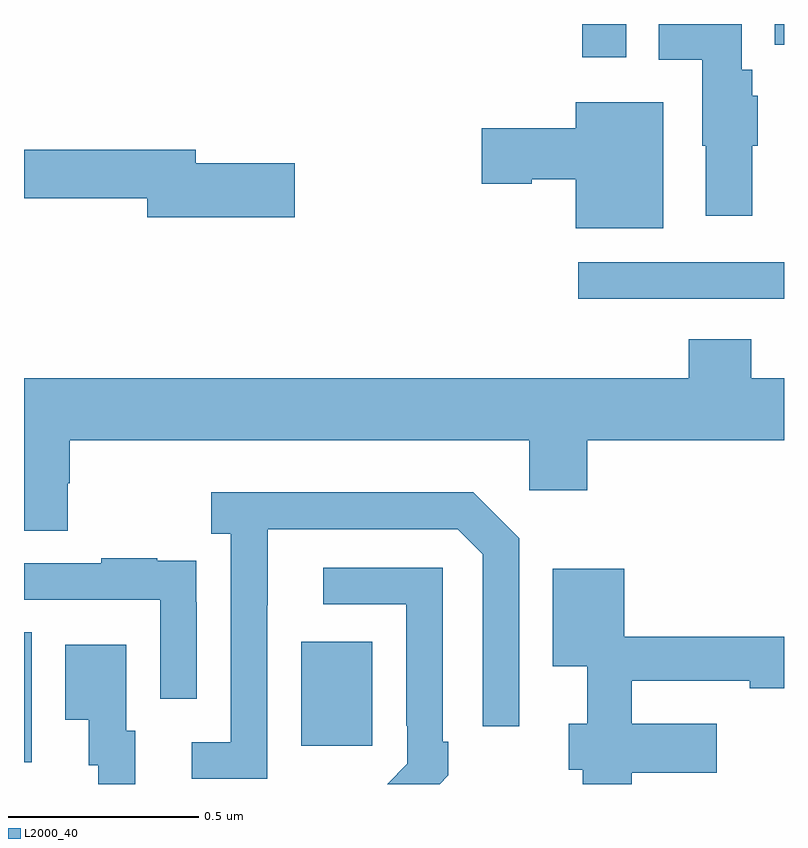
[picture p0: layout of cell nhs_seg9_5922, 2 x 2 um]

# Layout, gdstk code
import gdstk
lib = gdstk.Library(unit=1e-6, precision=1e-09)
def R(c, l, rs):  # rectangles x0, y0, x1, y1
    for r in rs: c.add(gdstk.rectangle(r[:2], r[2:], *l))
def P(c, l, *ps):  # polygons
    for p in ps: c.add(gdstk.Polygon(p, *l))
L2000_40 = (2000, 40)

nhs_seg9_5922 = lib.new_cell('nhs_seg9_5922')
R(nhs_seg9_5922, L2000_40, [(185,1211.557,185.02,1211.9), (185.729,1211.601,185.917,1211.875), (186.459,1212.777,187,1212.873), (186.469,1213.413,186.585,1213.5), (186.975,1213.446,187,1213.5)])
P(nhs_seg9_5922, L2000_40, [(186.916,1213.179),(186.931,1213.179),(186.931,1213.311),(186.916,1213.311),(186.916,1213.38),(186.889,1213.38),(186.889,1213.5),(186.67,1213.5),(186.67,1213.406),(186.785,1213.406),(186.785,1213.179),(186.794,1213.179),(186.794,1212.996),(186.916,1212.996)],
  [(186.682,1213.294),(186.452,1213.294),(186.452,1213.226),(186.204,1213.226),(186.204,1213.079),(186.336,1213.079),(186.336,1213.091),(186.452,1213.091),(186.452,1212.962),(186.682,1212.962)],
  [(185.713,1213.133),(185.452,1213.133),(185.452,1213.169),(185,1213.169),(185,1213.041),(185.324,1213.041),(185.324,1212.991),(185.713,1212.991)],
  [(185.115,1212.291),(185.12,1212.291),(185.12,1212.404),(186.33,1212.404),(186.33,1212.273),(186.482,1212.273),(186.482,1212.404),(187,1212.404),(187,1212.568),(186.914,1212.568),(186.914,1212.67),(186.749,1212.67),(186.749,1212.568),(185,1212.568),(185,1212.166),(185.115,1212.166)],
  [(185.64,1211.971),(185.641,1211.971),(185.641,1212.171),(186.141,1212.171),(186.207,1212.105),(186.207,1211.652),(186.303,1211.652),(186.303,1212.147),(186.182,1212.268),(185.493,1212.268),(185.493,1212.158),(185.544,1212.158),(185.544,1211.61),(185.442,1211.61),(185.442,1211.514),(185.64,1211.514)],
  [(185.454,1211.978),(185.453,1211.978),(185.453,1212.087),(185.351,1212.087),(185.351,1212.094),(185.203,1212.094),(185.203,1212.081),(185,1212.081),(185,1211.985),(185.358,1211.985),(185.358,1211.724),(185.454,1211.724)],
  [(186.117,1211.523),(186.117,1211.611),(186.102,1211.611),(186.102,1212.069),(185.787,1212.069),(185.787,1211.973),(186.006,1211.973),(186.006,1211.653),(186.009,1211.653),(186.009,1211.553),(185.956,1211.5),(186.094,1211.5)],
  [(186.599,1211.53),(186.823,1211.53),(186.823,1211.659),(186.599,1211.659),(186.599,1211.772),(186.91,1211.772),(186.91,1211.752),(187,1211.752),(187,1211.888),(186.579,1211.888),(186.579,1212.067),(186.392,1212.067),(186.392,1211.81),(186.482,1211.81),(186.482,1211.659),(186.434,1211.659),(186.434,1211.537),(186.471,1211.537),(186.471,1211.5),(186.599,1211.5)],
  [(185.293,1211.64),(185.269,1211.64),(185.269,1211.866),(185.108,1211.866),(185.108,1211.669),(185.171,1211.669),(185.171,1211.55),(185.196,1211.55),(185.196,1211.5),(185.293,1211.5)])

lib.write_gds('nhs_seg9_5922.gds')
